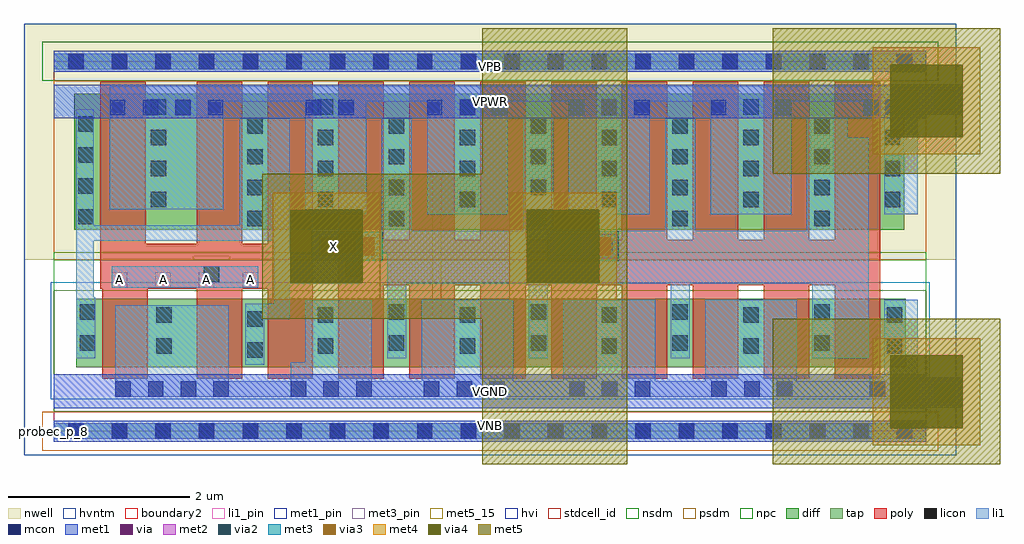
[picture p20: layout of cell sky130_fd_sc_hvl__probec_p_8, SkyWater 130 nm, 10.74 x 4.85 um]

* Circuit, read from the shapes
.subckt sky130_fd_sc_hvl__probec_p_8 A VGND VNB VPB VPWR X
XM1 VGND A n1 VNB sky130_fd_pr__nfet_g5v0d10v5 w=0.75 l=0.5 m=3
XM2 X n1 VGND VNB sky130_fd_pr__nfet_g5v0d10v5 w=0.75 l=0.5 m=8
XM3 VPWR A n1 VPB sky130_fd_pr__pfet_g5v0d10v5 w=1.5 l=0.5 m=3
XM4 X n1 VPWR VPB sky130_fd_pr__pfet_g5v0d10v5 w=1.5 l=0.5 m=8
.ends

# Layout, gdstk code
import gdstk
lib = gdstk.Library(unit=1e-6, precision=1e-09)
def R(c, l, rs):  # rectangles x0, y0, x1, y1
    for r in rs: c.add(gdstk.rectangle(r[:2], r[2:], *l))
def A(c, l, x, y, w, h, nx, ny, dx, dy):  # array of equal rectangles
    R(c, l, [(x+i*dx, y+j*dy, x+i*dx+w, y+j*dy+h) for i in range(nx) for j in range(ny)])
def P(c, l, *ps):  # polygons
    for p in ps: c.add(gdstk.Polygon(p, *l))
nwell = (64, 20)
diff = (65, 20)
tap = (65, 44)
poly = (66, 20)
licon = (66, 44)
li1_pin = (67, 16)
li1 = (67, 20)
mcon = (67, 44)
met1_pin = (68, 16)
met1 = (68, 20)
via = (68, 44)
met2 = (69, 20)
via2 = (69, 44)
met3_pin = (70, 16)
met3 = (70, 20)
via3 = (70, 44)
met4 = (71, 20)
via4 = (71, 44)
met5_15 = (72, 15)
met5 = (72, 20)
hvi = (75, 20)
stdcell_id = (81, 4)
nsdm = (93, 44)
psdm = (94, 20)
npc = (95, 20)
hvntm = (125, 20)
boundary2 = (236, 0)

sky130_fd_sc_hvl__probec = lib.new_cell('sky130_fd_sc_hvl__probec_p_8')
R(sky130_fd_sc_hvl__probec, nwell, [(-0.33,1.885,9.93,4.485)])
R(sky130_fd_sc_hvl__probec, diff, [(0.245,0.705,9.375,1.455), (0.225,2.215,9.355,3.715)])
R(sky130_fd_sc_hvl__probec, tap, [(0,-0.085,9.6,0.085), (0,3.985,9.6,4.155)])
P(sky130_fd_sc_hvl__probec, poly, [(2.85,3.845),(2.35,3.845),(2.35,2.065),(2.07,2.065),(2.07,3.845),(1.57,3.845),(1.57,2.065),(1.01,2.065),(1.01,3.845),(0.51,3.845),(0.51,1.565),(0.53,1.565),(0.53,0.575),(1.03,0.575),(1.03,1.565),(1.57,1.565),(1.57,0.575),(2.07,0.575),(2.07,1.565),(2.35,1.565),(2.35,0.575),(2.85,0.575)],
  [(9.09,3.845),(8.59,3.845),(8.59,2.105),(8.31,2.105),(8.31,3.845),(7.81,3.845),(7.81,2.105),(7.53,2.105),(7.53,3.845),(7.03,3.845),(7.03,2.105),(6.75,2.105),(6.75,3.845),(6.25,3.845),(6.25,2.105),(5.97,2.105),(5.97,3.845),(5.47,3.845),(5.47,2.105),(5.19,2.105),(5.19,3.845),(4.69,3.845),(4.69,2.105),(4.41,2.105),(4.41,3.845),(3.91,3.845),(3.91,2.105),(3.63,2.105),(3.63,3.845),(3.13,3.845),(3.13,0.575),(3.63,0.575),(3.63,1.605),(3.91,1.605),(3.91,0.575),(4.41,0.575),(4.41,1.605),(4.69,1.605),(4.69,0.575),(5.19,0.575),(5.19,1.605),(5.47,1.605),(5.47,0.575),(5.97,0.575),(5.97,1.605),(6.25,1.605),(6.25,0.575),(6.75,0.575),(6.75,1.605),(7.03,1.605),(7.03,0.575),(7.53,0.575),(7.53,1.605),(7.81,1.605),(7.81,0.575),(8.31,0.575),(8.31,1.605),(8.59,1.605),(8.59,0.575),(9.09,0.575)])
A(sky130_fd_sc_hvl__probec, licon, 0.155, -0.085, 0.17, 0.17, 20, 2, 0.48, 4.07)
A(sky130_fd_sc_hvl__probec, licon, 2.905, 0.855, 0.17, 0.17, 4, 2, 1.56, 0.34)
A(sky130_fd_sc_hvl__probec, licon, 3.685, 0.885, 0.17, 0.17, 4, 2, 1.56, 0.34)
A(sky130_fd_sc_hvl__probec, licon, 2.125, 2.255, 0.17, 0.17, 5, 4, 1.56, 0.34)
A(sky130_fd_sc_hvl__probec, licon, 0.265, 2.275, 0.17, 0.17, 1, 4, 0, 0.34)
A(sky130_fd_sc_hvl__probec, licon, 1.065, 2.465, 0.17, 0.17, 1, 4, 0, 0.34)
A(sky130_fd_sc_hvl__probec, licon, 2.905, 2.465, 0.17, 0.17, 5, 4, 1.56, 0.34)
R(sky130_fd_sc_hvl__probec, licon, [(2.125,0.81,2.295,0.98), (1.125,0.855,1.295,1.025), (9.165,0.855,9.335,1.025), (0.285,0.885,0.455,1.055), (2.125,1.15,2.295,1.32), (1.125,1.195,1.295,1.365), (9.165,1.195,9.335,1.365), (0.285,1.225,0.455,1.395), (1.65,1.645,1.82,1.815), (3.21,1.705,3.38,1.875)])
A(sky130_fd_sc_hvl__probec, li1_pin, 0.635, 1.58, 0.17, 0.17, 4, 1, 0.48, 0)
R(sky130_fd_sc_hvl__probec, li1, [(0,-0.085,9.6,0.085), (0.635,1.58,2.245,1.815), (0,3.985,9.6,4.155)])
P(sky130_fd_sc_hvl__probec, li1, [(3.38,1.955),(2.595,1.955),(2.595,3.445),(2.045,3.445),(2.045,2.265),(0.435,2.265),(0.435,3.545),(0.245,3.545),(0.245,0.805),(0.455,0.805),(0.455,1.475),(0.435,1.475),(0.435,2.095),(2.425,2.095),(2.425,1.4),(2.105,1.4),(2.105,0.73),(2.315,0.73),(2.315,1.23),(2.595,1.23),(2.595,1.625),(3.38,1.625)],
  [(8.965,3.23),(8.735,3.23),(8.735,3.445),(8.285,3.445),(8.285,2.205),(7.055,2.205),(7.055,3.445),(6.725,3.445),(6.725,2.205),(5.495,2.205),(5.495,3.445),(5.165,3.445),(5.165,2.205),(3.935,2.205),(3.935,3.445),(3.605,3.445),(3.605,1.955),(3.665,1.955),(3.665,0.805),(3.875,0.805),(3.875,1.625),(5.225,1.625),(5.225,0.805),(5.435,0.805),(5.435,1.625),(6.785,1.625),(6.785,0.805),(6.995,0.805),(6.995,1.625),(8.345,1.625),(8.345,0.805),(8.965,0.805)],
  [(9.505,3.795),(0.615,3.795),(0.615,2.445),(1.865,2.445),(1.865,3.625),(2.765,3.625),(2.765,2.385),(3.435,2.385),(3.435,3.625),(4.105,3.625),(4.105,2.385),(4.995,2.385),(4.995,3.625),(5.665,3.625),(5.665,2.385),(6.555,2.385),(6.555,3.625),(7.225,3.625),(7.225,2.385),(8.115,2.385),(8.115,3.625),(8.905,3.625),(8.905,3.475),(9.135,3.475),(9.135,2.385),(9.505,2.385)],
  [(9.505,1.445),(9.135,1.445),(9.135,0.6),(8.975,0.6),(8.975,0.55),(8.175,0.55),(8.175,1.445),(7.165,1.445),(7.165,0.55),(6.615,0.55),(6.615,1.445),(5.605,1.445),(5.605,0.55),(5.055,0.55),(5.055,1.445),(4.045,1.445),(4.045,0.55),(3.495,0.55),(3.495,1.445),(2.765,1.445),(2.765,0.76),(2.605,0.76),(2.605,0.55),(1.925,0.55),(1.925,1.385),(0.675,1.385),(0.675,0.38),(9.505,0.38)])
A(sky130_fd_sc_hvl__probec, mcon, 0.675, 0.38, 0.17, 0.17, 4, 1, 0.36, 0)
A(sky130_fd_sc_hvl__probec, mcon, 2.605, 0.38, 0.17, 0.17, 3, 1, 0.36, 0)
A(sky130_fd_sc_hvl__probec, mcon, 4.07, 0.38, 0.17, 0.17, 3, 1, 0.36, 0)
A(sky130_fd_sc_hvl__probec, mcon, 5.67, 0.38, 0.17, 0.17, 3, 1, 0.36, 0)
A(sky130_fd_sc_hvl__probec, mcon, 7.235, 0.38, 0.17, 0.17, 3, 1, 0.36, 0)
A(sky130_fd_sc_hvl__probec, mcon, 0.615, 3.475, 0.17, 0.17, 4, 1, 0.36, 0)
A(sky130_fd_sc_hvl__probec, mcon, 4.105, 3.475, 0.17, 0.17, 3, 1, 0.36, 0)
A(sky130_fd_sc_hvl__probec, mcon, 5.665, 3.475, 0.17, 0.17, 3, 1, 0.36, 0)
R(sky130_fd_sc_hvl__probec, mcon, [(0.155,-0.085,0.325,0.085), (0.155,-0.085,0.325,0.085), (0.635,-0.085,0.805,0.085), (0.635,-0.085,0.805,0.085), (1.115,-0.085,1.285,0.085), (1.115,-0.085,1.285,0.085), (1.595,-0.085,1.765,0.085), (1.595,-0.085,1.765,0.085), (2.075,-0.085,2.245,0.085), (2.075,-0.085,2.245,0.085), (2.555,-0.085,2.725,0.085), (2.555,-0.085,2.725,0.085), (3.035,-0.085,3.205,0.085), (3.035,-0.085,3.205,0.085), (3.515,-0.085,3.685,0.085), (3.515,-0.085,3.685,0.085), (3.995,-0.085,4.165,0.085), (3.995,-0.085,4.165,0.085), (4.475,-0.085,4.645,0.085), (4.475,-0.085,4.645,0.085), (4.955,-0.085,5.125,0.085), (4.955,-0.085,5.125,0.085), (5.435,-0.085,5.605,0.085), (5.435,-0.085,5.605,0.085), (5.915,-0.085,6.085,0.085), (5.915,-0.085,6.085,0.085), (6.395,-0.085,6.565,0.085), (6.395,-0.085,6.565,0.085), (6.875,-0.085,7.045,0.085), (6.875,-0.085,7.045,0.085), (7.355,-0.085,7.525,0.085), (7.355,-0.085,7.525,0.085), (7.835,-0.085,8.005,0.085), (7.835,-0.085,8.005,0.085), (8.315,-0.085,8.485,0.085), (8.315,-0.085,8.485,0.085), (8.795,-0.085,8.965,0.085), (8.795,-0.085,8.965,0.085), (9.275,-0.085,9.445,0.085), (9.275,-0.085,9.445,0.085), (8.975,0.38,9.145,0.55), (9.335,0.38,9.505,0.55), (5.62,1.95,5.79,2.12), (5.98,1.95,6.15,2.12), (2.77,3.475,2.94,3.645), (3.13,3.475,3.3,3.645), (7.23,3.475,7.4,3.645), (7.945,3.475,8.115,3.645), (8.905,3.475,9.075,3.645), (9.265,3.475,9.435,3.645), (0.155,3.985,0.325,4.155), (0.155,3.985,0.325,4.155), (0.635,3.985,0.805,4.155), (0.635,3.985,0.805,4.155), (1.115,3.985,1.285,4.155), (1.115,3.985,1.285,4.155), (1.595,3.985,1.765,4.155), (1.595,3.985,1.765,4.155), (2.075,3.985,2.245,4.155), (2.075,3.985,2.245,4.155), (2.555,3.985,2.725,4.155), (2.555,3.985,2.725,4.155), (3.035,3.985,3.205,4.155), (3.035,3.985,3.205,4.155), (3.515,3.985,3.685,4.155), (3.515,3.985,3.685,4.155), (3.995,3.985,4.165,4.155), (3.995,3.985,4.165,4.155), (4.475,3.985,4.645,4.155), (4.475,3.985,4.645,4.155), (4.955,3.985,5.125,4.155), (4.955,3.985,5.125,4.155), (5.435,3.985,5.605,4.155), (5.435,3.985,5.605,4.155), (5.915,3.985,6.085,4.155), (5.915,3.985,6.085,4.155), (6.395,3.985,6.565,4.155), (6.395,3.985,6.565,4.155), (6.875,3.985,7.045,4.155), (6.875,3.985,7.045,4.155), (7.355,3.985,7.525,4.155), (7.355,3.985,7.525,4.155), (7.835,3.985,8.005,4.155), (7.835,3.985,8.005,4.155), (8.315,3.985,8.485,4.155), (8.315,3.985,8.485,4.155), (8.795,3.985,8.965,4.155), (8.795,3.985,8.965,4.155), (9.275,3.985,9.445,4.155), (9.275,3.985,9.445,4.155)])
R(sky130_fd_sc_hvl__probec, met1_pin, [(0,0,9.6,0.115), (0,0,9.6,0.115), (0,0.255,9.6,0.625), (0,3.445,9.6,3.815), (0,3.955,9.6,4.07), (0,3.955,9.6,4.07)])
R(sky130_fd_sc_hvl__probec, met1, [(0,-0.115,9.6,0.115), (0,0.255,9.6,0.625), (5.56,1.905,5.57,2.165), (0,3.445,9.6,3.815), (0,3.955,9.6,4.185)])
R(sky130_fd_sc_hvl__probec, via, [(9.365,0.36,9.515,0.51), (9.685,0.36,9.835,0.51), (5.655,1.96,5.805,2.11), (5.975,1.96,6.125,2.11), (9.365,3.56,9.515,3.71), (9.685,3.56,9.835,3.71)])
R(sky130_fd_sc_hvl__probec, via2, [(9.3,0.325,9.5,0.525), (9.7,0.325,9.9,0.525), (5.525,1.935,5.725,2.135), (5.925,1.935,6.125,2.135), (9.3,3.545,9.5,3.745), (9.7,3.545,9.9,3.745)])
R(sky130_fd_sc_hvl__probec, met3_pin, [(2.92,1.875,3.24,2.195)])
R(sky130_fd_sc_hvl__probec, met3, [(9.21,0.26,9.99,0.59), (5.435,1.87,6.215,2.2), (9.21,3.48,9.99,3.81)])
R(sky130_fd_sc_hvl__probec, via3, [(9.3,0.325,9.5,0.525), (9.7,0.325,9.9,0.525), (2.925,1.935,3.125,2.135), (3.325,1.935,3.525,2.135), (5.525,1.935,5.725,2.135), (5.925,1.935,6.125,2.135), (9.3,3.545,9.5,3.745), (9.7,3.545,9.9,3.745)])
R(sky130_fd_sc_hvl__probec, via4, [(9.2,0.035,10,0.835), (2.6,1.635,3.4,2.435), (5.2,1.635,6,2.435), (9.2,3.235,10,4.035)])
R(sky130_fd_sc_hvl__probec, met5_15, [(4.16,1.235,4.26,2.835)])
R(sky130_fd_sc_hvl__probec, met5, [(4.71,-0.365,6.31,4.435), (7.91,-0.365,10.41,1.235), (2.29,1.235,6.31,2.835), (7.91,2.835,10.41,4.435)])
R(sky130_fd_sc_hvl__probec, hvi, [(-0.33,-0.265,9.93,4.485)])
R(sky130_fd_sc_hvl__probec, stdcell_id, [(0,0,9.6,4.07)])
R(sky130_fd_sc_hvl__probec, nsdm, [(0,0.215,9.6,1.885), (-0.13,3.855,9.73,4.285), (0,3.855,9.6,4.07)])
R(sky130_fd_sc_hvl__probec, psdm, [(-0.13,-0.215,9.73,0.215)])
P(sky130_fd_sc_hvl__probec, psdm, [(9.6,3.855),(0,3.855),(0,1.885),(1.54,1.885),(1.54,1.925),(1.93,1.925),(1.93,1.885),(3.1,1.885),(3.1,1.985),(3.49,1.985),(3.49,1.885),(9.6,1.885)])
P(sky130_fd_sc_hvl__probec, npc, [(9.6,1.97),(3.48,1.97),(3.48,1.975),(3.11,1.975),(3.11,1.97),(0,1.97),(0,1.545),(9.6,1.545)])
R(sky130_fd_sc_hvl__probec, hvntm, [(-0.035,0.35,9.635,1.64)])
R(sky130_fd_sc_hvl__probec, boundary2, [(0,0,9.6,4.07)])
sky130_fd_sc_hvl__probec.add(gdstk.FlexPath([(9.28,0.435),(9.92,0.435)], 0.26, ends="flush", simple_path=True, layer=69, datatype=20))  # met2
sky130_fd_sc_hvl__probec.add(gdstk.FlexPath([(9.215,0.425),(9.985,0.425)], 0.28, ends="flush", simple_path=True, layer=69, datatype=20))  # met2
sky130_fd_sc_hvl__probec.add(gdstk.FlexPath([(5.44,2.035),(6.21,2.035)], 0.28, ends="flush", simple_path=True, layer=69, datatype=20))  # met2
sky130_fd_sc_hvl__probec.add(gdstk.FlexPath([(9.215,3.645),(9.985,3.645)], 0.28, ends="flush", simple_path=True, layer=69, datatype=20))  # met2
sky130_fd_sc_hvl__probec.add(gdstk.FlexPath([(5.57,2.035),(6.21,2.035)], 0.26, ends="flush", simple_path=True, layer=69, datatype=20))  # met2
sky130_fd_sc_hvl__probec.add(gdstk.FlexPath([(9.28,3.635),(9.92,3.635)], 0.26, ends="flush", simple_path=True, layer=69, datatype=20))  # met2
sky130_fd_sc_hvl__probec.add(gdstk.FlexPath([(9.6,1.145),(9.6,-0.275)], 1.42, ends="flush", simple_path=True, layer=72, datatype=20))  # met5
sky130_fd_sc_hvl__probec.add(gdstk.FlexPath([(3,1.325),(3,2.745)], 1.42, ends="flush", simple_path=True, layer=72, datatype=20))  # met5
sky130_fd_sc_hvl__probec.add(gdstk.FlexPath([(5.6,1.325),(5.6,2.745)], 1.42, ends="flush", simple_path=True, layer=72, datatype=20))  # met5
sky130_fd_sc_hvl__probec.add(gdstk.FlexPath([(9.6,2.925),(9.6,4.345)], 1.42, ends="flush", simple_path=True, layer=72, datatype=20))  # met5
sky130_fd_sc_hvl__probec.add(gdstk.FlexPath([(2.86,2.035),(3.59,2.035)], 0.33, ends="flush", simple_path=True, layer=71, datatype=20))  # met4
sky130_fd_sc_hvl__probec.add(gdstk.FlexPath([(9.235,0.425),(9.965,0.425)], 0.33, ends="flush", simple_path=True, layer=71, datatype=20))  # met4
sky130_fd_sc_hvl__probec.add(gdstk.FlexPath([(3,1.445),(3,2.625)], 1.18, ends="flush", simple_path=True, layer=71, datatype=20))  # met4
sky130_fd_sc_hvl__probec.add(gdstk.FlexPath([(5.6,1.445),(5.6,2.625)], 1.18, ends="flush", simple_path=True, layer=71, datatype=20))  # met4
sky130_fd_sc_hvl__probec.add(gdstk.FlexPath([(9.6,3.045),(9.6,4.225)], 1.18, ends="flush", simple_path=True, layer=71, datatype=20))  # met4
sky130_fd_sc_hvl__probec.add(gdstk.FlexPath([(9.6,1.025),(9.6,-0.155)], 1.18, ends="flush", simple_path=True, layer=71, datatype=20))  # met4
sky130_fd_sc_hvl__probec.add(gdstk.FlexPath([(5.46,2.035),(6.19,2.035)], 0.33, ends="flush", simple_path=True, layer=71, datatype=20))  # met4
sky130_fd_sc_hvl__probec.add(gdstk.FlexPath([(9.235,3.645),(9.965,3.645)], 0.33, ends="flush", simple_path=True, layer=71, datatype=20))  # met4
sky130_fd_sc_hvl__probec.add(gdstk.FlexPath([(9.235,0.425),(9.965,0.425)], 0.33, ends="flush", simple_path=True, layer=70, datatype=20))  # met3
sky130_fd_sc_hvl__probec.add(gdstk.FlexPath([(9.21,0.425),(9.99,0.425)], 0.32, ends="flush", simple_path=True, layer=70, datatype=20))  # met3
sky130_fd_sc_hvl__probec.add(gdstk.FlexPath([(2.835,2.035),(3.615,2.035)], 0.32, ends="flush", simple_path=True, layer=70, datatype=20))  # met3
sky130_fd_sc_hvl__probec.add(gdstk.FlexPath([(5.435,2.035),(6.215,2.035)], 0.32, ends="flush", simple_path=True, layer=70, datatype=20))  # met3
sky130_fd_sc_hvl__probec.add(gdstk.FlexPath([(9.21,3.645),(9.99,3.645)], 0.32, ends="flush", simple_path=True, layer=70, datatype=20))  # met3
sky130_fd_sc_hvl__probec.add(gdstk.FlexPath([(5.46,2.035),(6.19,2.035)], 0.33, ends="flush", simple_path=True, layer=70, datatype=20))  # met3
sky130_fd_sc_hvl__probec.add(gdstk.FlexPath([(9.235,3.645),(9.965,3.645)], 0.33, ends="flush", simple_path=True, layer=70, datatype=20))  # met3
sky130_fd_sc_hvl__probec.add(gdstk.FlexPath([(5.62,2.035),(6.15,2.035)], 0.17, ends="flush", simple_path=True, layer=67, datatype=20))  # li1
sky130_fd_sc_hvl__probec.add(gdstk.FlexPath([(5.57,2.035),(6.21,2.035)], 0.26, ends="flush", simple_path=True, layer=68, datatype=20))  # met1
sky130_fd_sc_hvl__probec.add(gdstk.FlexPath([(9.28,3.635),(9.92,3.635)], 0.26, ends="flush", simple_path=True, layer=68, datatype=20))  # met1
sky130_fd_sc_hvl__probec.add(gdstk.FlexPath([(9.28,0.435),(9.92,0.435)], 0.26, ends="flush", simple_path=True, layer=68, datatype=20))  # met1
sky130_fd_sc_hvl__probec.add(gdstk.FlexPath([(5.56,2.035),(6.21,2.035)], 0.23, ends="flush", simple_path=True, layer=68, datatype=20))  # met1
sky130_fd_sc_hvl__probec.add(gdstk.Label('X', (3.08,2.035), layer=70, texttype=5))
sky130_fd_sc_hvl__probec.add(gdstk.Label('probec_p_8', (0,0), layer=83, texttype=44))
sky130_fd_sc_hvl__probec.add(gdstk.Label('VNB', (4.8,0.058), layer=68, texttype=5))
sky130_fd_sc_hvl__probec.add(gdstk.Label('VPWR', (4.8,3.63), layer=68, texttype=5))
sky130_fd_sc_hvl__probec.add(gdstk.Label('VPB', (4.8,4.013), layer=68, texttype=5))
sky130_fd_sc_hvl__probec.add(gdstk.Label('VPB', (4.8,4.013), layer=68, texttype=5))
sky130_fd_sc_hvl__probec.add(gdstk.Label('VGND', (4.8,0.44), layer=68, texttype=5))
sky130_fd_sc_hvl__probec.add(gdstk.Label('VNB', (4.8,0.058), layer=68, texttype=5))
sky130_fd_sc_hvl__probec.add(gdstk.Label('A', (0.72,1.665), layer=67, texttype=5))
sky130_fd_sc_hvl__probec.add(gdstk.Label('A', (1.2,1.665), layer=67, texttype=5))
sky130_fd_sc_hvl__probec.add(gdstk.Label('A', (1.68,1.665), layer=67, texttype=5))
sky130_fd_sc_hvl__probec.add(gdstk.Label('A', (2.16,1.665), layer=67, texttype=5))

lib.write_gds('sky130_fd_sc_hvl__probec_p_8.gds')
